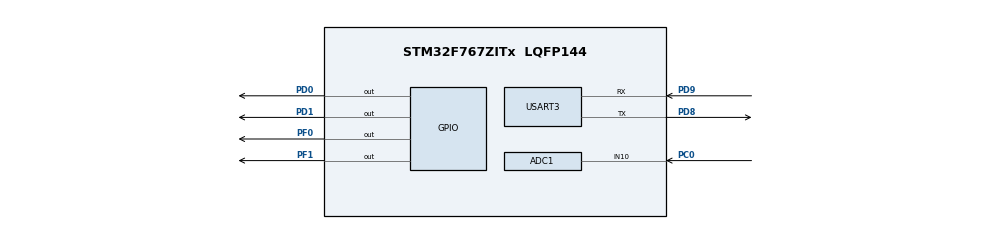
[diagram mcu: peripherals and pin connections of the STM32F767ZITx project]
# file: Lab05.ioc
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ADC1.Channel-0\#ChannelRegularConversion=ADC_CHANNEL_10
ADC1.ContinuousConvMode=ENABLE
ADC1.EOCSelection=ADC_EOC_SEQ_CONV
ADC1.NbrOfConversionFlag=1
ADC1.Rank-0\#ChannelRegularConversion=1
ADC1.SamplingTime-0\#ChannelRegularConversion=ADC_SAMPLETIME_3CYCLES
ADC1.master=1
CORTEX_M7.default_mode_Activation=1
Mcu.Family=STM32F7
Mcu.Name=STM32F767ZITx
Mcu.Package=LQFP144
NVIC.PriorityGroup=NVIC_PRIORITYGROUP_4
PC0.Signal=ADCx_IN10
PD0.Signal=GPIO_Output
PD1.Signal=GPIO_Output
PD8.Mode=Asynchronous
PD8.Signal=USART3_TX
PD9.Mode=Asynchronous
PD9.Signal=USART3_RX
PF0.Signal=GPIO_Output
PF1.Signal=GPIO_Output
ProjectManager.HeapSize=0x200
ProjectManager.StackSize=0x400
ProjectManager.TargetToolchain=STM32CubeIDE
RCC.HSE_VALUE=25000000
RCC.HSI_VALUE=16000000
RCC.LSE_VALUE=32768
RCC.USBFreq_Value=96000000
RCC.VCOOutputFreq_Value=192000000
SH.ADCx_IN10.0=ADC1_IN10,IN10
USART3.VirtualMode-Asynchronous=VM_ASYNC
board=custom

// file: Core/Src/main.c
/* USER CODE BEGIN Header */
/**
  ******************************************************************************
  * @file           : main.c
  * @brief          : Main program body
  ******************************************************************************
  * @attention
  *
  * Copyright (c) 2025 STMicroelectronics.
  * All rights reserved.
  *
  * This software is licensed under terms that can be found in the LICENSE file
  * in the root directory of this software component.
  * If no LICENSE file comes with this software, it is provided AS-IS.
  *
  ******************************************************************************
  */
/* USER CODE END Header */
#include "main.h"
#include "adc.h"
#include "usart.h"
#include "gpio.h"
#include "string.h"
#include "stdio.h"

/* USER CODE BEGIN PV */
uint32_t data;
volatile uint32_t adc_val = 0;
volatile uint32_t av8 = 0;
volatile uint32_t av16 = 0;
char msg[32];

/* USER CODE END PV */

void SystemClock_Config(void);
static void MPU_Config(void);

int main(void)
{

  /* MPU Configuration--------------------------------------------------------*/
  MPU_Config();

  /* MCU Configuration--------------------------------------------------------*/

  /* Reset of all peripherals, Initializes the Flash interface and the Systick. */
  HAL_Init();

  /* Configure the system clock */
  SystemClock_Config();

  /* Initialize all configured peripherals */
  MX_GPIO_Init();
  MX_ADC1_Init();
  MX_USART3_UART_Init();
  HAL_ADC_Start(&hadc1);

  /* Infinite loop */
  while (1)
  {

    /* USER CODE BEGIN 3 */
//	  uint32_t data = 501;
	  while (HAL_ADC_PollForConversion(&hadc1, 100) != HAL_OK) {}
	  adc_val = HAL_ADC_GetValue(&hadc1);
	  av8 = average_8(adc_val);
	  av16 = average_16(adc_val);

	  if(av8 < 4095/5){
		  HAL_GPIO_WritePin(GPIOD, GPIO_PIN_0, RESET);
		  HAL_GPIO_WritePin(GPIOD, GPIO_PIN_1, RESET);
		  HAL_GPIO_WritePin(GPIOF, GPIO_PIN_0, RESET);
		  HAL_GPIO_WritePin(GPIOF, GPIO_PIN_1, RESET);

	  }else if(av8 > (4095/5) && av8 <=2*(4095/5)){
		  HAL_GPIO_WritePin(GPIOD, GPIO_PIN_0, SET);
		  HAL_GPIO_WritePin(GPIOD, GPIO_PIN_1, RESET);
		  HAL_GPIO_WritePin(GPIOF, GPIO_PIN_0, RESET);
		  HAL_GPIO_WritePin(GPIOF, GPIO_PIN_1, RESET);

	  }else if(av8 > 2*(4095/5) && av8 <=3*(4095/5)){
		  HAL_GPIO_WritePin(GPIOD, GPIO_PIN_0, SET);
		  HAL_GPIO_WritePin(GPIOD, GPIO_PIN_1, SET);
		  HAL_GPIO_WritePin(GPIOF, GPIO_PIN_0, RESET);
		  HAL_GPIO_WritePin(GPIOF, GPIO_PIN_1, RESET);

	  }else if(av8 > 3*(4095/5) && av8 <=4*(4095/5)){
		  HAL_GPIO_WritePin(GPIOD, GPIO_PIN_0, SET);
		  HAL_GPIO_WritePin(GPIOD, GPIO_PIN_1, SET);
		  HAL_GPIO_WritePin(GPIOF, GPIO_PIN_0, SET);
		  HAL_GPIO_WritePin(GPIOF, GPIO_PIN_1, RESET);

	  }else if(av8 > 4*(4095/5)){
		  HAL_GPIO_WritePin(GPIOD, GPIO_PIN_0, SET);
		  HAL_GPIO_WritePin(GPIOD, GPIO_PIN_1, SET);
		  HAL_GPIO_WritePin(GPIOF, GPIO_PIN_0, SET);
		  HAL_GPIO_WritePin(GPIOF, GPIO_PIN_1, SET);

	  }

	  snprintf(msg, sizeof(msg), "ADC1_CH10 ");
	  HAL_UART_Transmit(&huart3, (uint8_t*)msg, strlen(msg), HAL_MAX_DELAY);

	  displayHEX(adc_val);

	  float voltage = (adc_val * 3.3f) / 4095.0f;
	  snprintf(msg, sizeof(msg), " Vin = %.2f V\r\n", voltage);

	  HAL_UART_Transmit(&huart3, (uint8_t*)msg, strlen(msg), HAL_MAX_DELAY);
	  HAL_Delay(400);

  }
  /* USER CODE END 3 */
}

void SystemClock_Config(void)
{
  RCC_OscInitTypeDef RCC_OscInitStruct = {0};
  RCC_ClkInitTypeDef RCC_ClkInitStruct = {0};

  /** Configure the main internal regulator output voltage
  */
  __HAL_RCC_PWR_CLK_ENABLE();
  __HAL_PWR_VOLTAGESCALING_CONFIG(PWR_REGULATOR_VOLTAGE_SCALE3);

  /** Initializes the RCC Oscillators according to the specified parameters
  * in the RCC_OscInitTypeDef structure.
  */
  RCC_OscInitStruct.OscillatorType = RCC_OSCILLATORTYPE_HSI;
  RCC_OscInitStruct.HSIState = RCC_HSI_ON;
  RCC_OscInitStruct.HSICalibrationValue = RCC_HSICALIBRATION_DEFAULT;
  RCC_OscInitStruct.PLL.PLLState = RCC_PLL_NONE;
  if (HAL_RCC_OscConfig(&RCC_OscInitStruct) != HAL_OK)
  {
    Error_Handler();
  }

  /** Initializes the CPU, AHB and APB buses clocks
  */
  RCC_ClkInitStruct.ClockType = RCC_CLOCKTYPE_HCLK|RCC_CLOCKTYPE_SYSCLK
                              |RCC_CLOCKTYPE_PCLK1|RCC_CLOCKTYPE_PCLK2;
  RCC_ClkInitStruct.SYSCLKSource = RCC_SYSCLKSOURCE_HSI;
  RCC_ClkInitStruct.AHBCLKDivider = RCC_SYSCLK_DIV1;
  RCC_ClkInitStruct.APB1CLKDivider = RCC_HCLK_DIV1;
  RCC_ClkInitStruct.APB2CLKDivider = RCC_HCLK_DIV1;

  if (HAL_RCC_ClockConfig(&RCC_ClkInitStruct, FLASH_LATENCY_0) != HAL_OK)
  {
    Error_Handler();
  }
}

/* USER CODE BEGIN 4 */
void displayHEX(uint32_t value){
	char buffer[20];

	uint16_t val = (uint16_t)(value & 0xFFFF);
	sprintf(buffer, "0x%08X", val);

	HAL_UART_Transmit(&huart3, (uint8_t*)buffer, strlen(buffer), HAL_MAX_DELAY);
//	HAL_UART_Transmit(&huart3, (uint8_t*)"\r\n", 2, HAL_MAX_DELAY);
}

int average_8(int x) {
	static int samples[8];
	static int i = 0;
	static int total = 0;

	total += x - samples[i];
	samples[i] = x;

	i = (i==7 ? 0 : i+1);

	return total>>3;
}

int average_16(int x) {
	static int samples[16];
	static int i = 0;
	static int total = 0;

	total += x - samples[i];
	samples[i] = x;

	i = (i==15 ? 0 : i+1);

	return total>>4;
}
/* USER CODE END 4 */

 /* MPU Configuration */

void MPU_Config(void)
{
  MPU_Region_InitTypeDef MPU_InitStruct = {0};

  /* Disables the MPU */
  HAL_MPU_Disable();

  /** Initializes and configures the Region and the memory to be protected
  */
  MPU_InitStruct.Enable = MPU_REGION_ENABLE;
  MPU_InitStruct.Number = MPU_REGION_NUMBER0;
  MPU_InitStruct.BaseAddress = 0x0;
  MPU_InitStruct.Size = MPU_REGION_SIZE_4GB;
  MPU_InitStruct.SubRegionDisable = 0x87;
  MPU_InitStruct.TypeExtField = MPU_TEX_LEVEL0;
  MPU_InitStruct.AccessPermission = MPU_REGION_NO_ACCESS;
  MPU_InitStruct.DisableExec = MPU_INSTRUCTION_ACCESS_DISABLE;
  MPU_InitStruct.IsShareable = MPU_ACCESS_SHAREABLE;
  MPU_InitStruct.IsCacheable = MPU_ACCESS_NOT_CACHEABLE;
  MPU_InitStruct.IsBufferable = MPU_ACCESS_NOT_BUFFERABLE;

  HAL_MPU_ConfigRegion(&MPU_InitStruct);
  /* Enables the MPU */
  HAL_MPU_Enable(MPU_PRIVILEGED_DEFAULT);

}

void Error_Handler(void)
{
  __disable_irq();
  while (1)
  {
  }
}
